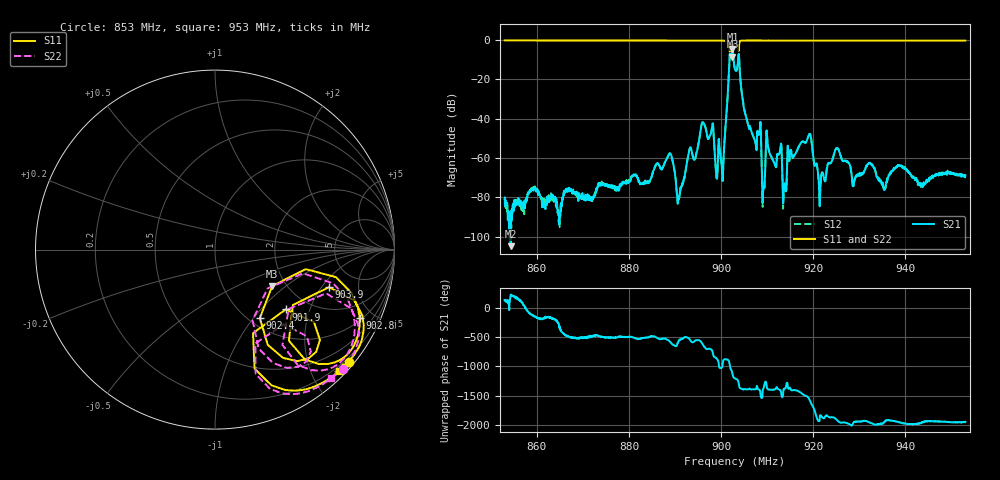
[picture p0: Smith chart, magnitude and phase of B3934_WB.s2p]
! Matrix data file written by TouchstoneData, EPCOS AG
! FILENAME: "LY32A_24_MB.s2p"
! COMMENT: "(/home/netware/tmp/Aleks/LY32A/unmatched/LY3"
! INFO: nport=2, nfreq=1601
! DATE: "Tue Apr 20 09:13:09 2010"
! USER: "Aleksander Breg"
! port | pin | signal
!  1  |  2  |  input
!  2  |  4  |  output
# MHZ S MA R 50
! freq  magS11 angS11  magS21 angS21  magS12 angS12  magS22 angS22
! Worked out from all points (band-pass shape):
!   1601 points, 853 MHz to 953 MHz, reference 50 ohm
!   highest |S21| = -4.63 dB at 902.4 MHz (marker M1); lowest = -104.9 dB at 854.3 MHz (marker M2)
!   |S21| within 3 dB of the highest: 901.8442 MHz to 901.9391 MHz (94.88 kHz wide, 0.0105 % of centre); 902.2168 MHz to 902.5929 MHz (376.1 kHz wide, 0.0417 % of centre) (the widest 2 of 3)
!   lowest |S11| = -8.5 dB at 902.4 MHz (marker M3), VSWR 2.21, Z = 84.8 - j40.2 ohm
!   |S11| at or under -10 dB: nowhere
!   |S22| runs from -8.8 to -0.2 dB; largest |S21 - S12| = 0.00067
!   S11 on the Smith chart (normalised r, x): 853 MHz: 0.11, -2.75; 901.9 MHz: 1.53, -1.39; 902.4 MHz: 1.12, -1.08; 902.8 MHz: 1.13, -4.18; 903.9 MHz: 3.13, -2.37; 953 MHz: 0.11, -2.45
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853  0.9747 -39.9  8.949e-05 129.6  8.28e-05 132.8  0.9738 -43.0
854.3125  0.9746 -40.0  5.706e-06 -144.3  1.53e-05 -134.5  0.9735 -43.1
869.6875  0.973 -40.9  9.998e-05 -139.8  0.0001039 -151.1  0.9717 -44.1
886.375  0.9708 -42.2  0.000712 -169.2  0.0007157 -167.1  0.9693 -45.4
889  0.9695 -42.4  0.001287 128.6  0.001277 129.2  0.9682 -45.6
890.875  0.9703 -42.7  9.924e-05 170.6  0.0001004 174.8  0.969 -45.9
896.125  0.9627 -43.6  0.007913 76.0  0.00791 75.9  0.9615 -46.8
900.1875  0.9633 -47.2  0.0004762 64.8  0.0005042 65.5  0.9629 -50.2
901.875  0.5162 -40.2  0.4457 92.1  0.4459 92.2  0.5656 -47.4
902.375  0.4559 -56.7  0.5613 -20.1  0.5616 -20.1  0.4464 -62.0
902.4375  0.3778 -32.5  0.5871 -41.4  0.5873 -41.4  0.3638 -36.5
902.75  0.8909 -25.2  0.2674 -110.4  0.2673 -110.3  0.8892 -28.7
903  0.9372 -33.3  0.1807 -124.8  0.1808 -124.8  0.9358 -36.8
903.875  0.6691 -18.2  0.3797 114.4  0.3798 114.4  0.6654 -21.5
909.1875  0.971 -40.8  0.0001838 65.7  0.0001732 67.9  0.9701 -44.2
910.1875  0.9708 -41.0  0.001918 49.7  0.001888 50.0  0.9697 -44.4
913.75  0.9679 -42.0  0.0002272 61.5  0.0001855 66.6  0.9675 -45.4
919.6875  0.9635 -42.0  0.002177 145.4  0.00219 145.2  0.9627 -45.4
921.5  0.9687 -42.3  0.0001622 -39.1  0.0001606 -31.3  0.9671 -45.7
925.125  0.9683 -42.6  0.001793 -112.5  0.001795 -112.3  0.9668 -46.1
936.375  0.968 -43.4  0.0003459 -111.4  0.0003775 -115.6  0.9672 -46.9
953  0.9681 -44.4  0.0003639 -143.3  0.0003555 -146.3  0.9669 -47.9
